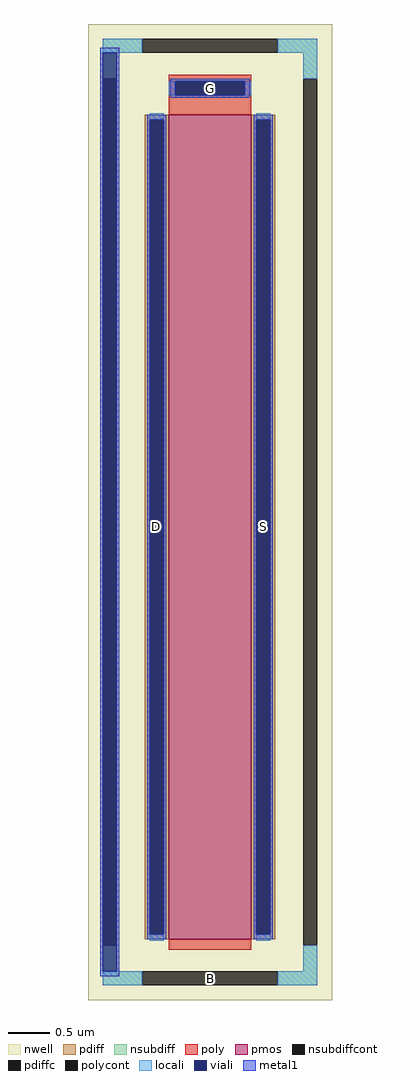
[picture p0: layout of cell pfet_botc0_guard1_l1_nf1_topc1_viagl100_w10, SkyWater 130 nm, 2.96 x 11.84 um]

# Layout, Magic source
magic
tech sky130A
magscale 1 2
<< nwell >>
rect -296 -1184 296 1184
<< pmos >>
rect -100 -1036 100 964
<< pdiff >>
rect -158 952 -100 964
rect -158 -1024 -146 952
rect -112 -1024 -100 952
rect -158 -1036 -100 -1024
rect 100 952 158 964
rect 100 -1024 112 952
rect 146 -1024 158 952
rect 100 -1036 158 -1024
<< pdiffc >>
rect -146 -1024 -112 952
rect 112 -1024 146 952
<< nsubdiff >>
rect -260 1114 -164 1148
rect 164 1114 260 1148
rect -260 1051 -226 1114
rect 226 1051 260 1114
rect -260 -1114 -226 -1051
rect 226 -1114 260 -1051
rect -260 -1148 -164 -1114
rect 164 -1148 260 -1114
<< nsubdiffcont >>
rect -164 1114 164 1148
rect -260 -1051 -226 1051
rect 226 -1051 260 1051
rect -164 -1148 164 -1114
<< poly >>
rect -100 1045 100 1061
rect -100 1011 -84 1045
rect 84 1011 100 1045
rect -100 964 100 1011
rect -100 -1062 100 -1036
<< polycont >>
rect -84 1011 84 1045
<< locali >>
rect -260 1114 -164 1148
rect 164 1114 260 1148
rect 226 1051 260 1114
rect -100 1011 -84 1045
rect 84 1011 100 1045
rect -146 952 -112 968
rect -146 -1040 -112 -1024
rect 112 952 146 968
rect 112 -1040 146 -1024
rect 226 -1114 260 -1051
rect -260 -1148 -164 -1114
rect 164 -1148 260 -1114
<< viali >>
rect -260 1051 -226 1114
rect -260 -1051 -226 1051
rect -84 1011 84 1045
rect -146 -1024 -112 952
rect 112 -1024 146 952
rect -260 -1114 -226 -1051
<< metal1 >>
rect -266 1114 -220 1126
rect -266 -1114 -260 1114
rect -226 -1114 -220 1114
rect -96 1045 96 1051
rect -96 1011 -84 1045
rect 84 1011 96 1045
rect -96 1005 96 1011
rect -152 952 -106 964
rect -152 -1024 -146 952
rect -112 -1024 -106 952
rect -152 -1036 -106 -1024
rect 106 952 152 964
rect 106 -1024 112 952
rect 146 -1024 152 952
rect 106 -1036 152 -1024
rect -266 -1126 -220 -1114
<< labels >>
rlabel nsubdiffcont 0 -1131 0 -1131 0 B
port 1 nsew
rlabel pdiffc -129 -36 -129 -36 0 D
port 2 nsew
rlabel pdiffc 129 -36 129 -36 0 S
port 3 nsew
rlabel polycont 0 1028 0 1028 0 G
port 4 nsew
<< properties >>
string FIXED_BBOX -243 -1131 243 1131
string gencell sky130_fd_pr__pfet_01v8
string library sky130
string parameters w 10 l 1 m 1 nf 1 diffcov 100 polycov 100 guard 1 glc 1 grc 1 gtc 1 gbc 1 tbcov 100 rlcov 100 topc 1 botc 0 poverlap 0 doverlap 1 lmin 0.15 wmin 0.42 class mosfet compatible {sky130_fd_pr__pfet_01v8  sky130_fd_pr__pfet_01v8_lvt sky130_fd_pr__pfet_01v8_hvt  sky130_fd_pr__pfet_g5v0d10v5} full_metal 1 conn_gates 0 viasrc 100 viadrn 100 viagate 100 viagb 0 viagr 0 viagl 100 viagt 0 doports 1
<< end >>
